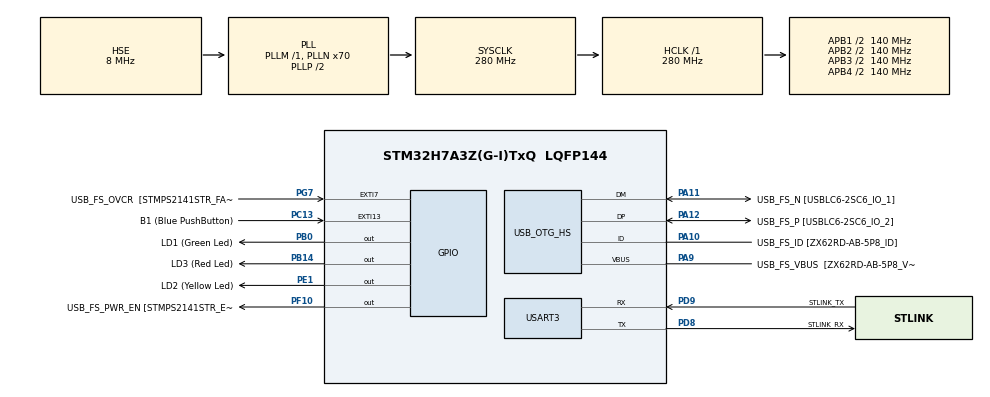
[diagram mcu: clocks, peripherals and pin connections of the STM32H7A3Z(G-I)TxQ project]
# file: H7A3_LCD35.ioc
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Mcu.Family=STM32H7
Mcu.Name=STM32H7A3Z(G-I)TxQ
Mcu.Package=LQFP144
NVIC.EXTI15_10_IRQn=true\:0\:0\:false\:false\:true\:true\:true\:true
NVIC.PriorityGroup=NVIC_PRIORITYGROUP_4
NVIC.TIM17_IRQn=true\:0\:0\:false\:false\:true\:true\:true\:true
PA10.GPIO_Label=USB_FS_ID [ZX62RD-AB-5P8_ID]
PA10.Mode=OTG/Dual-Role-Device-FS
PA10.Signal=USB_OTG_HS_ID
PA11.GPIO_Label=USB_FS_N [USBLC6-2SC6_IO_1]
PA11.Mode=OTG/Dual-Role-Device-FS
PA11.Signal=USB_OTG_HS_DM
PA12.GPIO_Label=USB_FS_P [USBLC6-2SC6_IO_2]
PA12.Mode=OTG/Dual-Role-Device-FS
PA12.Signal=USB_OTG_HS_DP
PA9.GPIO_Label=USB_FS_VBUS  [ZX62RD-AB-5P8_VBUS]
PA9.Mode=Activate_VBUS_FS
PA9.Signal=USB_OTG_HS_VBUS
PB0.GPIO_Label=LD1 (Green Led)
PB0.Signal=GPIO_Output
PB14.GPIO_Label=LD3 (Red Led)
PB14.Signal=GPIO_Output
PC13.GPIO_Label=B1 (Blue PushButton)
PC13.GPIO_ModeDefaultEXTI=GPIO_MODE_IT_RISING
PC13.Signal=GPXTI13
PC14-OSC32_IN.GPIO_Label=OSC32_IN
PC14-OSC32_IN.Mode=LSE-External-Oscillator
PC14-OSC32_IN.Signal=RCC_OSC32_IN
PC15-OSC32_OUT.GPIO_Label=OSC32_OUT
PC15-OSC32_OUT.Mode=LSE-External-Oscillator
PC15-OSC32_OUT.Signal=RCC_OSC32_OUT
PD8.GPIO_Label=STLINK_RX
PD8.Mode=Asynchronous
PD8.Signal=USART3_TX
PD9.GPIO_Label=STLINK_TX
PD9.Mode=Asynchronous
PD9.Signal=USART3_RX
PE1.GPIO_Label=LD2 (Yellow Led)
PE1.Signal=GPIO_Output
PF10.GPIO_Label=USB_FS_PWR_EN [STMPS2141STR_EN]
PF10.Signal=GPIO_Output
PG7.GPIO_Label=USB_FS_OVCR  [STMPS2141STR_FAULT]
PG7.Signal=GPXTI7
PH0-OSC_IN.GPIO_Label=PH0-MCU
PH0-OSC_IN.Mode=HSE-External-Clock-Source
PH0-OSC_IN.Signal=RCC_OSC_IN
PH1-OSC_OUT.GPIO_Label=PH1-MCU
PH1-OSC_OUT.Signal=RCC_OSC_OUT
ProjectManager.HeapSize=0x200
ProjectManager.StackSize=0x400
ProjectManager.TargetToolchain=STM32CubeIDE
RCC.ADCFreq_Value=16125000
RCC.APB1Freq_Value=140000000
RCC.APB2Freq_Value=140000000
RCC.APB3Freq_Value=140000000
RCC.APB4Freq_Value=140000000
RCC.CDPPRE=RCC_APB3_DIV2
RCC.CDPPRE1=RCC_APB1_DIV2
RCC.CDPPRE2=RCC_APB2_DIV2
RCC.CortexFreq_Value=280000000
RCC.DIVM1=1
RCC.DIVM3=1
RCC.DIVN1=70
RCC.DIVN3=24
RCC.DIVQ1=4
RCC.HCLKFreq_Value=280000000
RCC.HSE_VALUE=8000000
RCC.PLLFRACN=0
RCC.PLLSourceVirtual=RCC_PLLSOURCE_HSE
RCC.PWR_Regulator_Voltage_Scale=PWR_REGULATOR_VOLTAGE_SCALE0
RCC.SRDPPRE=RCC_APB4_DIV2
RCC.SYSCLKFreq_VALUE=280000000
RCC.SYSCLKSource=RCC_SYSCLKSOURCE_PLLCLK
RCC.SupplySource=PWR_DIRECT_SMPS_SUPPLY
RCC.USBCLockSelection=RCC_USBCLKSOURCE_HSI48
RCC.USBFreq_Value=48000000
TIM17.Prescaler=279
USART3.VirtualMode-Asynchronous=VM_ASYNC
VP_TIM17_VS_ClockSourceINT.Mode=Enable_Timer
board=NUCLEO-H7A3ZI-Q

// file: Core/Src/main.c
/* USER CODE BEGIN Header */
/**
  ******************************************************************************
  * @file           : main.c
  * @brief          : Main program body
  ******************************************************************************
  * @attention
  *
  * Copyright (c) 2022 STMicroelectronics.
  * All rights reserved.
  *
  * This software is licensed under terms that can be found in the LICENSE file
  * in the root directory of this software component.
  * If no LICENSE file comes with this software, it is provided AS-IS.
  *
  ******************************************************************************
  */
/* USER CODE END Header */
#include "main.h"

/* USER CODE BEGIN Includes */
#include "LCDrivers/Fonts/fonts.h"
#include "LCDrivers/ili9486.h"
#include "testimg.h"

/* USER CODE END Includes */

TIM_HandleTypeDef htim17;

UART_HandleTypeDef huart3;

/* USER CODE BEGIN PV */
uint16_t baaa[5] = {0};
uint8_t bluecounter = 0;
uint8_t flag_blue = 0;

static uint8_t ff = 0;

////// for fontwrite test
union {
	uint8_t b8[4];
	uint32_t b32;
}buu32;
uint8_t rowbox;
uint16_t chpos;
uint32_t bfpos = 0;
uint32_t hop = 0;
uint32_t cliff = 0;

char txtbuf[20] = {0};
////// for fontwrite test

uint32_t timestamp_one = 0;
uint32_t timestamp_two = 0;

uint64_t _micros;
/* USER CODE END PV */

void SystemClock_Config(void);
static void MX_GPIO_Init(void);
static void MX_USART3_UART_Init(void);
static void MX_USB_OTG_HS_USB_Init(void);
static void MX_TIM17_Init(void);
/* USER CODE BEGIN PFP */
uint64_t micros();
void ili_screen_1();
void ili_fonttest(uint16_t Xpo, uint16_t Ypo, char *chr, sFONT fonto, uint16_t RGB_Coder);
void ili_texttest(uint16_t Xpo, uint16_t Ypo,const char* strr,sFONT fonto, uint16_t RGB_Coder, uint16_t RGB_bg);
/* USER CODE END PFP */

int main(void)
{

  /* MCU Configuration--------------------------------------------------------*/

  /* Reset of all peripherals, Initializes the Flash interface and the Systick. */
  HAL_Init();

  /* Configure the system clock */
  SystemClock_Config();

  /* Initialize all configured peripherals */
  MX_GPIO_Init();
  MX_USART3_UART_Init();
  MX_USB_OTG_HS_USB_Init();
  MX_TIM17_Init();
  /* USER CODE BEGIN 2 */

  //HAL_TIM_Base_Start_IT(&htim17);
  ili9486_Init();
  ili9486_DisplayOn();

  //BSP_LCD_Init();
  //BSP_LCD_DisplayOn();

  baaa[0] = ili9486_GetLcdPixelWidth();
  baaa[1] = ili9486_GetLcdPixelHeight();
  baaa[2] = ili9486_ReadID();
  ili9486_FillRect(0, 0, 480, 320, 0x0000);

  //// force start testfont screen 3
  //flag_blue = 3;
  /* USER CODE END 2 */

  /* Infinite loop */
  /* USER CODE BEGIN WHILE */
  while (1)
  {

	  if(HAL_GetTick() - timestamp_one >= 3000){
		  timestamp_one = HAL_GetTick();
		  HAL_GPIO_TogglePin(LD2_GPIO_Port, LD2_Pin);
	  }

	  if(HAL_GetTick() - timestamp_two >= 20){
		  timestamp_two = HAL_GetTick();
		  HAL_GPIO_TogglePin(LD1_GPIO_Port, LD1_Pin);
	  }

	  if(flag_blue == 4){
		  //BSP_LCD_Clear(0xff00);
		  //BSP_LCD_DrawRect(50, 50, 50, 50);
		  flag_blue = 0;
	  }

	  if(flag_blue == 3){
	  		  ili9486_FillRect(0, 0, 480, 320, 0x0000);
	  		  ili9486_DrawRGBImage(50, 100, 128, 128, (uint16_t*)image_data_ImageoftestN2);
	  		  ili9486_DrawRGBImage(300, 100, 128, 90, (uint16_t*)image_data_owlflood);

	  		  for(int i = 0; i < 40; i = i + 2){
	  			  for(int j = 0; j < 60; j = j + 4)
	  			ili9486_WritePixel(210 + i, 80 + j, cl_GREEN);
	  		  }

	  		  ili9486_WriteChar(20, 50, "E", Font8, cl_RED, cl_GREEN);
			  ili9486_WriteChar(50, 50, "E", Font12, cl_WHITE, cl_BLACK);
			  ili9486_WriteChar(80, 50, "E", Font16, cl_BLUE, cl_CYAN);
			  ili9486_WriteChar(110, 50, "E", Font20, cl_WHITE, cl_RED);
			  ili9486_WriteChar(140, 50, "E", Font24, cl_ORANGE, cl_BLACK);

			  //ili9486_FillRect(198, 30, 2, 30, cl_YELLOW);
			  ili9486_DrawVLine(cl_YELLOW, 200, 40, 24);
			  ili9486_DrawVLine(cl_YELLOW, 225, 40, 24);
			  //// Font24 @2664 E
			  ili_fonttest(200, 40, "A", Font24, cl_WHITE);
			  ili_fonttest(225, 40, "B", Font24, cl_WHITE);
			  ili_fonttest(250, 40, "C", Font24, cl_WHITE);
			  ili_fonttest(275, 40, "D", Font24, cl_WHITE);

			  ili_fonttest(300, 40, "A", Font8, cl_WHITE);
			  ili_fonttest(325, 40, "B", Font12, cl_WHITE);
			  ili_fonttest(350, 40, "C", Font16, cl_WHITE);
			  ili_fonttest(375, 40, "D", Font20, cl_WHITE);

			  ili9486_WriteString(20, 300, "KaleAR Terra", Font20, cl_WHITE, cl_BLACK);
			  ili_texttest(200, 200, "Helios Terra Renai Kaliber Barx Maxon 129035"
					  " __ --== + &&6.. [ ggg ]??? Rhivalia DIAR Barvarrian"
					  " vicar nexus iICCTVS \ / %%% $ *(!@#$%^&*)_{} "
					  , Font20, cl_GREEN, cl_BLACK);
			  char* aa = "A";
			  txtbuf[14] = *aa;

			  ili_fonttest(400, 30, aa, Font24, cl_WHITE); // A  <- output
			  ili_fonttest(420, 30, *aa, Font24, cl_WHITE); // N  <- output

	  		  flag_blue = 0; // comment this to forever loop
	  	  }

	  if(flag_blue == 1){
		  ili_screen_1();
		  flag_blue = 0;

	  }

	  if(flag_blue == 2){
		  //// Running Box ////
		  if(ff == 1){
			  ili9486_FillRect(0, 0, 480, 320, 0xF792); // screen
			  ff = 0;
		  }
		  int ratte = 1;
		  int sizo = 30;
		  int offs = 140;
		  static uint16_t xsh = 0;
		  ili9486_FillRect(xsh, offs, ratte ,sizo, 0xF792);
		  xsh += ratte;
		  ili9486_FillRect(xsh, offs, sizo, sizo, 0x0410); //// box
		  if(xsh >= 480){ // clear
			  ili9486_FillRect(xsh, offs, sizo, sizo, 0xF792);
			  xsh = 0;
		  }
		  //HAL_Delay(10);

	  }
    /* USER CODE END WHILE */

  }
}

void SystemClock_Config(void)
{
  RCC_OscInitTypeDef RCC_OscInitStruct = {0};
  RCC_ClkInitTypeDef RCC_ClkInitStruct = {0};

  /*AXI clock gating */
  RCC->CKGAENR = 0xFFFFFFFF;

  /** Supply configuration update enable
  */
  HAL_PWREx_ConfigSupply(PWR_DIRECT_SMPS_SUPPLY);

  /** Configure the main internal regulator output voltage
  */
  __HAL_PWR_VOLTAGESCALING_CONFIG(PWR_REGULATOR_VOLTAGE_SCALE0);

  while(!__HAL_PWR_GET_FLAG(PWR_FLAG_VOSRDY)) {}

  /** Initializes the RCC Oscillators according to the specified parameters
  * in the RCC_OscInitTypeDef structure.
  */
  RCC_OscInitStruct.OscillatorType = RCC_OSCILLATORTYPE_HSI48|RCC_OSCILLATORTYPE_HSE;
  RCC_OscInitStruct.HSEState = RCC_HSE_BYPASS;
  RCC_OscInitStruct.HSI48State = RCC_HSI48_ON;
  RCC_OscInitStruct.PLL.PLLState = RCC_PLL_ON;
  RCC_OscInitStruct.PLL.PLLSource = RCC_PLLSOURCE_HSE;
  RCC_OscInitStruct.PLL.PLLM = 1;
  RCC_OscInitStruct.PLL.PLLN = 70;
  RCC_OscInitStruct.PLL.PLLP = 2;
  RCC_OscInitStruct.PLL.PLLQ = 4;
  RCC_OscInitStruct.PLL.PLLR = 2;
  RCC_OscInitStruct.PLL.PLLRGE = RCC_PLL1VCIRANGE_3;
  RCC_OscInitStruct.PLL.PLLVCOSEL = RCC_PLL1VCOWIDE;
  RCC_OscInitStruct.PLL.PLLFRACN = 0;
  if (HAL_RCC_OscConfig(&RCC_OscInitStruct) != HAL_OK)
  {
    Error_Handler();
  }

  /** Initializes the CPU, AHB and APB buses clocks
  */
  RCC_ClkInitStruct.ClockType = RCC_CLOCKTYPE_HCLK|RCC_CLOCKTYPE_SYSCLK
                              |RCC_CLOCKTYPE_PCLK1|RCC_CLOCKTYPE_PCLK2
                              |RCC_CLOCKTYPE_D3PCLK1|RCC_CLOCKTYPE_D1PCLK1;
  RCC_ClkInitStruct.SYSCLKSource = RCC_SYSCLKSOURCE_PLLCLK;
  RCC_ClkInitStruct.SYSCLKDivider = RCC_SYSCLK_DIV1;
  RCC_ClkInitStruct.AHBCLKDivider = RCC_HCLK_DIV1;
  RCC_ClkInitStruct.APB3CLKDivider = RCC_APB3_DIV2;
  RCC_ClkInitStruct.APB1CLKDivider = RCC_APB1_DIV2;
  RCC_ClkInitStruct.APB2CLKDivider = RCC_APB2_DIV2;
  RCC_ClkInitStruct.APB4CLKDivider = RCC_APB4_DIV2;

  if (HAL_RCC_ClockConfig(&RCC_ClkInitStruct, FLASH_LATENCY_7) != HAL_OK)
  {
    Error_Handler();
  }
}

static void MX_TIM17_Init(void)
{

  htim17.Instance = TIM17;
  htim17.Init.Prescaler = 279;
  htim17.Init.CounterMode = TIM_COUNTERMODE_UP;
  htim17.Init.Period = 65535;
  htim17.Init.ClockDivision = TIM_CLOCKDIVISION_DIV1;
  htim17.Init.RepetitionCounter = 0;
  htim17.Init.AutoReloadPreload = TIM_AUTORELOAD_PRELOAD_DISABLE;
  if (HAL_TIM_Base_Init(&htim17) != HAL_OK)
  {
    Error_Handler();
  }

}

static void MX_USART3_UART_Init(void)
{

  huart3.Instance = USART3;
  huart3.Init.BaudRate = 115200;
  huart3.Init.WordLength = UART_WORDLENGTH_8B;
  huart3.Init.StopBits = UART_STOPBITS_1;
  huart3.Init.Parity = UART_PARITY_NONE;
  huart3.Init.Mode = UART_MODE_TX_RX;
  huart3.Init.HwFlowCtl = UART_HWCONTROL_NONE;
  huart3.Init.OverSampling = UART_OVERSAMPLING_16;
  huart3.Init.OneBitSampling = UART_ONE_BIT_SAMPLE_DISABLE;
  huart3.Init.ClockPrescaler = UART_PRESCALER_DIV1;
  huart3.AdvancedInit.AdvFeatureInit = UART_ADVFEATURE_NO_INIT;
  if (HAL_UART_Init(&huart3) != HAL_OK)
  {
    Error_Handler();
  }
  if (HAL_UARTEx_SetTxFifoThreshold(&huart3, UART_TXFIFO_THRESHOLD_1_8) != HAL_OK)
  {
    Error_Handler();
  }
  if (HAL_UARTEx_SetRxFifoThreshold(&huart3, UART_RXFIFO_THRESHOLD_1_8) != HAL_OK)
  {
    Error_Handler();
  }
  if (HAL_UARTEx_DisableFifoMode(&huart3) != HAL_OK)
  {
    Error_Handler();
  }

}

static void MX_USB_OTG_HS_USB_Init(void)
{

}

static void MX_GPIO_Init(void)
{
  GPIO_InitTypeDef GPIO_InitStruct = {0};

  /* GPIO Ports Clock Enable */
  __HAL_RCC_GPIOC_CLK_ENABLE();
  __HAL_RCC_GPIOF_CLK_ENABLE();
  __HAL_RCC_GPIOH_CLK_ENABLE();
  __HAL_RCC_GPIOB_CLK_ENABLE();
  __HAL_RCC_GPIOD_CLK_ENABLE();
  __HAL_RCC_GPIOG_CLK_ENABLE();
  __HAL_RCC_GPIOA_CLK_ENABLE();
  __HAL_RCC_GPIOE_CLK_ENABLE();

  /*Configure GPIO pin Output Level */
  HAL_GPIO_WritePin(USB_FS_PWR_EN_GPIO_Port, USB_FS_PWR_EN_Pin, GPIO_PIN_RESET);

  /*Configure GPIO pin Output Level */
  HAL_GPIO_WritePin(GPIOB, LD1_Pin|LD3_Pin, GPIO_PIN_RESET);

  /*Configure GPIO pin Output Level */
  HAL_GPIO_WritePin(LD2_GPIO_Port, LD2_Pin, GPIO_PIN_RESET);

  /*Configure GPIO pin : B1_Pin */
  GPIO_InitStruct.Pin = B1_Pin;
  GPIO_InitStruct.Mode = GPIO_MODE_IT_RISING;
  GPIO_InitStruct.Pull = GPIO_NOPULL;
  HAL_GPIO_Init(B1_GPIO_Port, &GPIO_InitStruct);

  /*Configure GPIO pin : USB_FS_PWR_EN_Pin */
  GPIO_InitStruct.Pin = USB_FS_PWR_EN_Pin;
  GPIO_InitStruct.Mode = GPIO_MODE_OUTPUT_PP;
  GPIO_InitStruct.Pull = GPIO_NOPULL;
  GPIO_InitStruct.Speed = GPIO_SPEED_FREQ_LOW;
  HAL_GPIO_Init(USB_FS_PWR_EN_GPIO_Port, &GPIO_InitStruct);

  /*Configure GPIO pins : LD1_Pin LD3_Pin */
  GPIO_InitStruct.Pin = LD1_Pin|LD3_Pin;
  GPIO_InitStruct.Mode = GPIO_MODE_OUTPUT_PP;
  GPIO_InitStruct.Pull = GPIO_NOPULL;
  GPIO_InitStruct.Speed = GPIO_SPEED_FREQ_LOW;
  HAL_GPIO_Init(GPIOB, &GPIO_InitStruct);

  /*Configure GPIO pin : USB_FS_OVCR_Pin */
  GPIO_InitStruct.Pin = USB_FS_OVCR_Pin;
  GPIO_InitStruct.Mode = GPIO_MODE_IT_RISING;
  GPIO_InitStruct.Pull = GPIO_NOPULL;
  HAL_GPIO_Init(USB_FS_OVCR_GPIO_Port, &GPIO_InitStruct);

  /*Configure GPIO pin : USB_FS_VBUS_Pin */
  GPIO_InitStruct.Pin = USB_FS_VBUS_Pin;
  GPIO_InitStruct.Mode = GPIO_MODE_INPUT;
  GPIO_InitStruct.Pull = GPIO_NOPULL;
  HAL_GPIO_Init(USB_FS_VBUS_GPIO_Port, &GPIO_InitStruct);

  /*Configure GPIO pin : USB_FS_ID_Pin */
  GPIO_InitStruct.Pin = USB_FS_ID_Pin;
  GPIO_InitStruct.Mode = GPIO_MODE_AF_PP;
  GPIO_InitStruct.Pull = GPIO_NOPULL;
  GPIO_InitStruct.Speed = GPIO_SPEED_FREQ_LOW;
  GPIO_InitStruct.Alternate = GPIO_AF10_OTG1_HS;
  HAL_GPIO_Init(USB_FS_ID_GPIO_Port, &GPIO_InitStruct);

  /*Configure GPIO pins : USB_FS_N_Pin USB_FS_P_Pin */
  GPIO_InitStruct.Pin = USB_FS_N_Pin|USB_FS_P_Pin;
  GPIO_InitStruct.Mode = GPIO_MODE_AF_PP;
  GPIO_InitStruct.Pull = GPIO_NOPULL;
  GPIO_InitStruct.Speed = GPIO_SPEED_FREQ_LOW;
  HAL_GPIO_Init(GPIOA, &GPIO_InitStruct);

  /*Configure GPIO pin : LD2_Pin */
  GPIO_InitStruct.Pin = LD2_Pin;
  GPIO_InitStruct.Mode = GPIO_MODE_OUTPUT_PP;
  GPIO_InitStruct.Pull = GPIO_NOPULL;
  GPIO_InitStruct.Speed = GPIO_SPEED_FREQ_LOW;
  HAL_GPIO_Init(LD2_GPIO_Port, &GPIO_InitStruct);

  /* EXTI interrupt init*/
  HAL_NVIC_SetPriority(EXTI15_10_IRQn, 0, 0);
  HAL_NVIC_EnableIRQ(EXTI15_10_IRQn);

}

/* USER CODE BEGIN 4 */
void ili_screen_1(){
	  ili9486_FillRect(0, 0, 480, 320, 0xffff);  // White BG

	  ili9486_FillRect(30, 30, 100, 100, 0xF8E0); // Red
	  ili9486_FillRect(150, 30, 100, 100, 0x07E0); // Green RGB565
	  ili9486_FillRect(270, 30, 100, 100, 0x001F); // Blue

	  ili9486_FillRect(30, 160,  100, 100, cl_CYAN); // C0x07FF
	  ili9486_FillRect(150, 160, 100, 100, cl_MAGENTA); // M 0xF81F
	  ili9486_FillRect(270, 160, 100, 100, cl_YELLOW); // Y0xFFE0
	  ili9486_FillRect(390, 30, 70, 230, cl_BLACK); // K
}

void ili_fonttest(uint16_t Xpo, uint16_t Ypo, char *chr,sFONT fonto, uint16_t RGB_Coder){

	rowbox = ceilf((float)(fonto.Width) / 8);
	//// choose MSB check pos for each font size
	cliff = 0x80 << (8 * (rowbox - 1));
	//rowbox = (fonto.Width / 8) + 1;

	for(int i = 0; i < fonto.Height; i++){
		//b = fonto.table[((chr - 31) * fonto.Height * rowbox)+ (i*rowbox)];
		chpos = (int)(*chr) - 32;
		bfpos = ((int)(*chr) - 32) * fonto.Height * rowbox;

		hop = 0;
		for(int k = 0; k < rowbox; k++){
			//// Works
			buu32.b8[k] = fonto.table[((int)(*chr - 32) * fonto.Height * rowbox) + (i * rowbox) + k];
			hop = (hop << 8) + buu32.b8[k];
			//HAL_Delay(30);
			//// how to insert in union
			//buu32.b8[rowbox - k] = fonto.table[((int)(*chr - 32) * fonto.Height * rowbox) + (i * rowbox) + k];
		}

		for(int j = 0; j < fonto.Width; j++){
			////Works
			if((hop << j) & cliff){ // buu32.b32

			//if((buu32.b32 << j) & cliff){ //
				ili9486_WritePixel(Xpo + j, Ypo + i, RGB_Coder);
			}

		}
	}
}

void ili_texttest(uint16_t Xpo, uint16_t Ypo,const char* strr,sFONT fonto, uint16_t RGB_Coder, uint16_t RGB_bg){

	uint16_t ili_heigh = ili9486_GetLcdPixelHeight();
	uint16_t ili_width = ili9486_GetLcdPixelWidth();

	while(*strr){

	//// Check screen overflow / new line
		if(Xpo + fonto.Width >= ili_width){
			Xpo = 0;
			Ypo += fonto.Height;

			if(Ypo + fonto.Height >= ili_heigh){
				break;
			}

			if(*strr == ' ') {
				// skip spaces in the beginning of the new line
				strr++;
				continue;
			}
		}
		//ST7735_WriteChar(x, y, *str, font, color, bgcolor);
		static int nummm = 0;
		txtbuf[nummm] = *strr;
		ili9486_WriteChar(Xpo, Ypo, strr, fonto, RGB_Coder, RGB_bg);
		Xpo += fonto.Width;
		strr++; nummm++;
	}
}

uint64_t micros()
{return _micros + htim17.Instance->CNT;}

void HAL_GPIO_EXTI_Callback(uint16_t GPIO_Pin){
	if(GPIO_Pin == GPIO_PIN_13){
		bluecounter++;
		bluecounter%=4;
		flag_blue = bluecounter;
		ff = 1;
	}

}

void HAL_TIM_PeriodElapsedCallback(TIM_HandleTypeDef *htim){
 if(htim == &htim17)
 {_micros += 65535;}
}
/* USER CODE END 4 */

void Error_Handler(void)
{
  __disable_irq();
  while (1)
  {
  }
}
